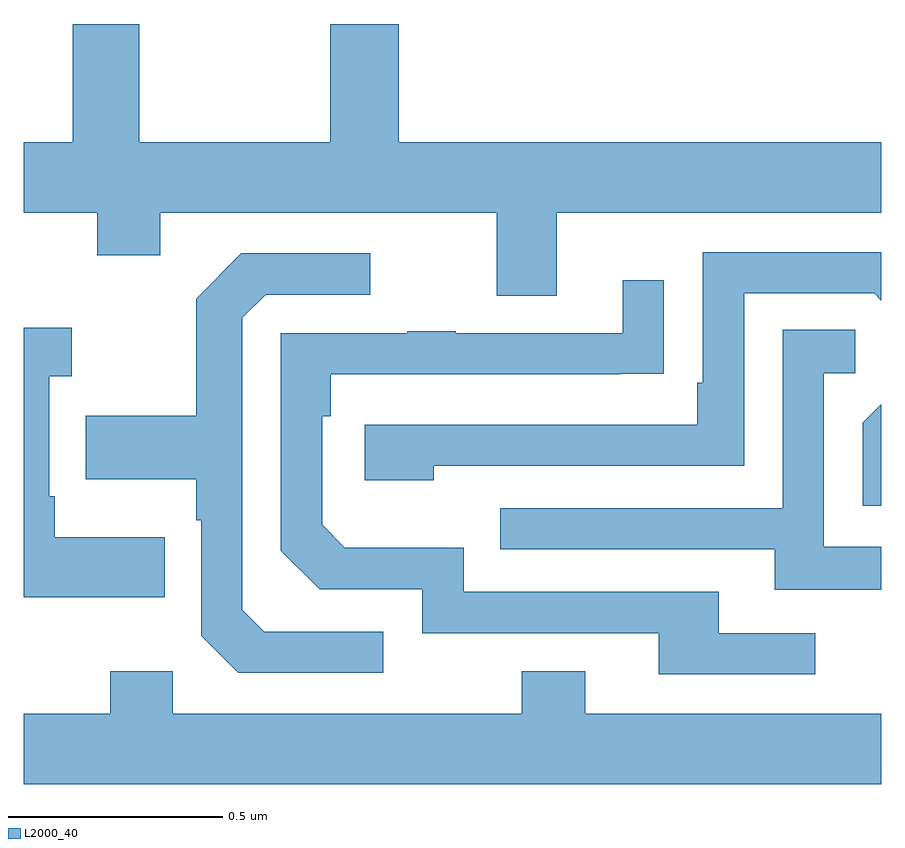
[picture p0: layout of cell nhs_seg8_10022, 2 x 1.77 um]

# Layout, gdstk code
import gdstk
lib = gdstk.Library(unit=1e-6, precision=1e-09)
def P(c, l, *ps):  # polygons
    for p in ps: c.add(gdstk.Polygon(p, *l))
L2000_40 = (2000, 40)

nhs_seg8_10022 = lib.new_cell('nhs_seg8_10022')
P(nhs_seg8_10022, L2000_40, [(244.243,1156.46),(245,1156.46),(245,1156.624),(243.875,1156.624),(243.875,1156.9),(243.715,1156.9),(243.715,1156.624),(243.27,1156.624),(243.27,1156.9),(243.115,1156.9),(243.115,1156.624),(243,1156.624),(243,1156.46),(243.172,1156.46),(243.172,1156.361),(243.319,1156.361),(243.319,1156.46),(244.103,1156.46),(244.103,1156.266),(244.243,1156.266)],
  [(243.956,1155.87),(244.68,1155.87),(244.68,1156.272),(244.983,1156.272),(245,1156.255),(245,1156.368),(244.584,1156.368),(244.584,1156.063),(244.571,1156.063),(244.571,1155.966),(243.795,1155.966),(243.795,1155.836),(243.956,1155.836)],
  [(243.838,1155.483),(243.561,1155.483),(243.51,1155.534),(243.51,1156.215),(243.564,1156.269),(243.808,1156.269),(243.808,1156.365),(243.507,1156.365),(243.402,1156.259),(243.402,1155.987),(243.145,1155.987),(243.145,1155.839),(243.402,1155.839),(243.402,1155.743),(243.414,1155.743),(243.414,1155.474),(243.501,1155.387),(243.838,1155.387)],
  [(244.846,1155.48),(244.621,1155.48),(244.621,1155.576),(244.026,1155.576),(244.026,1155.679),(243.749,1155.679),(243.696,1155.732),(243.696,1155.986),(243.716,1155.986),(243.716,1156.083),(244.391,1156.083),(244.391,1156.084),(244.493,1156.084),(244.493,1156.303),(244.397,1156.303),(244.397,1156.179),(244.007,1156.179),(244.007,1156.184),(243.895,1156.184),(243.895,1156.179),(243.6,1156.179),(243.6,1155.672),(243.69,1155.582),(243.93,1155.582),(243.93,1155.48),(244.481,1155.48),(244.481,1155.384),(244.846,1155.384)],
  [(243.329,1155.703),(243.073,1155.703),(243.073,1155.799),(243.06,1155.799),(243.06,1156.079),(243.112,1156.079),(243.112,1156.192),(243,1156.192),(243,1155.563),(243.329,1155.563)],
  [(245,1155.681),(244.866,1155.681),(244.866,1156.086),(244.939,1156.086),(244.939,1156.187),(244.77,1156.187),(244.77,1155.771),(244.111,1155.771),(244.111,1155.675),(244.751,1155.675),(244.751,1155.581),(245,1155.581)],
  [(245,1156.014),(244.956,1155.97),(244.956,1155.777),(245,1155.777)],
  [(245,1155.292),(244.309,1155.292),(244.309,1155.391),(244.162,1155.391),(244.162,1155.292),(243.348,1155.292),(243.348,1155.391),(243.202,1155.391),(243.202,1155.292),(243,1155.292),(243,1155.128),(245,1155.128)])

lib.write_gds('nhs_seg8_10022.gds')
